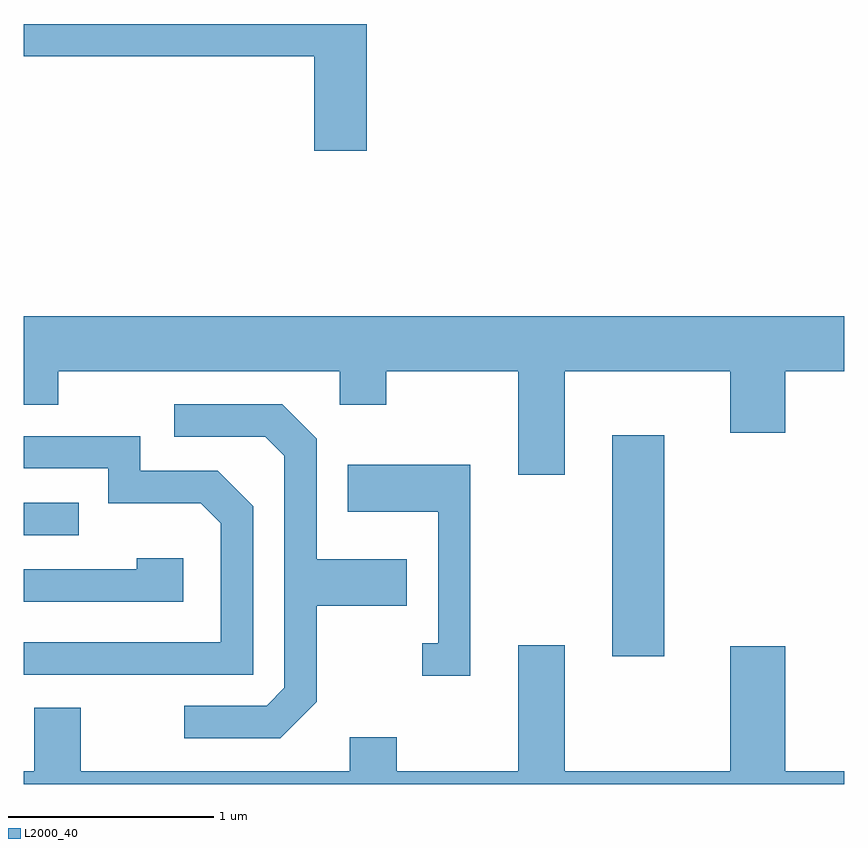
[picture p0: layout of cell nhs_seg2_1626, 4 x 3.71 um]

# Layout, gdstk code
import gdstk
lib = gdstk.Library(unit=1e-6, precision=1e-09)
def R(c, l, rs):  # rectangles x0, y0, x1, y1
    for r in rs: c.add(gdstk.rectangle(r[:2], r[2:], *l))
def P(c, l, *ps):  # polygons
    for p in ps: c.add(gdstk.Polygon(p, *l))
L2000_40 = (2000, 40)

nhs_seg2_1626 = lib.new_cell('nhs_seg2_1626')
R(nhs_seg2_1626, L2000_40, [(234.481,1102.426,234.734,1103.504), (231.611,1103.016,231.878,1103.174)])
P(nhs_seg2_1626, L2000_40, [(233.284,1105.509),(231.611,1105.509),(231.611,1105.351),(233.026,1105.351),(233.026,1104.891),(233.284,1104.891)],
  [(234.249,1103.816),(235.056,1103.816),(235.056,1103.516),(235.324,1103.516),(235.324,1103.816),(235.611,1103.816),(235.611,1104.084),(231.611,1104.084),(231.611,1103.651),(231.779,1103.651),(231.779,1103.816),(233.151,1103.816),(233.151,1103.651),(233.379,1103.651),(233.379,1103.816),(234.021,1103.816),(234.021,1103.311),(234.249,1103.311)],
  [(233.039,1102.204),(233.039,1102.671),(233.479,1102.671),(233.479,1102.899),(233.039,1102.899),(233.039,1103.487),(232.872,1103.654),(232.343,1103.654),(232.343,1103.496),(232.789,1103.496),(232.881,1103.404),(232.881,1102.272),(232.794,1102.184),(232.393,1102.184),(232.393,1102.026),(232.862,1102.026)],
  [(232.729,1103.157),(232.557,1103.329),(232.179,1103.329),(232.179,1103.499),(231.611,1103.499),(231.611,1103.341),(232.021,1103.341),(232.021,1103.171),(232.474,1103.171),(232.571,1103.074),(232.571,1102.494),(231.611,1102.494),(231.611,1102.336),(232.729,1102.336)],
  [(233.789,1103.359),(233.191,1103.359),(233.191,1103.131),(233.631,1103.131),(233.631,1102.489),(233.553,1102.489),(233.553,1102.331),(233.789,1102.331)],
  [(232.389,1102.904),(232.161,1102.904),(232.161,1102.849),(231.611,1102.849),(231.611,1102.691),(232.389,1102.691)],
  [(235.611,1101.864),(235.324,1101.864),(235.324,1102.474),(235.056,1102.474),(235.056,1101.864),(234.249,1101.864),(234.249,1102.479),(234.021,1102.479),(234.021,1101.864),(233.429,1101.864),(233.429,1102.029),(233.201,1102.029),(233.201,1101.864),(231.889,1101.864),(231.889,1102.174),(231.661,1102.174),(231.661,1101.864),(231.611,1101.864),(231.611,1101.802),(235.611,1101.802)])

lib.write_gds('nhs_seg2_1626.gds')
